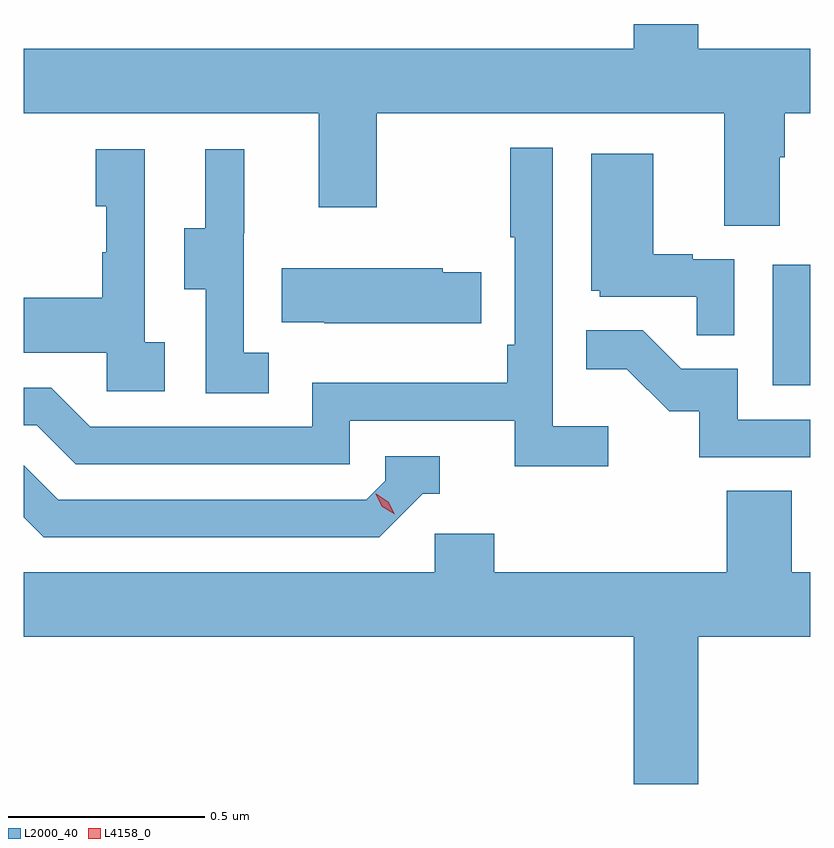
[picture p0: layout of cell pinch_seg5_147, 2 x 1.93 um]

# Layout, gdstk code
import gdstk
lib = gdstk.Library(unit=1e-6, precision=1e-09)
def R(c, l, rs):  # rectangles x0, y0, x1, y1
    for r in rs: c.add(gdstk.rectangle(r[:2], r[2:], *l))
def P(c, l, *ps):  # polygons
    for p in ps: c.add(gdstk.Polygon(p, *l))
L2000_40 = (2000, 40)
L4158_0 = (4158, 0)

pinch_seg5_147 = lib.new_cell('pinch_seg5_147')
R(pinch_seg5_147, L2000_40, [(1040.486,874.716,1040.581,875.023)])
P(pinch_seg5_147, L2000_40, [(1040.503,875.296),(1040.516,875.296),(1040.516,875.408),(1040.581,875.408),(1040.581,875.572),(1040.296,875.572),(1040.296,875.635),(1040.132,875.635),(1040.132,875.572),(1038.581,875.572),(1038.581,875.408),(1039.331,875.408),(1039.331,875.169),(1039.478,875.169),(1039.478,875.408),(1040.363,875.408),(1040.363,875.122),(1040.503,875.122)],
  [(1040.068,874.612),(1039.926,874.612),(1039.926,875.32),(1039.818,875.32),(1039.818,875.092),(1039.83,875.092),(1039.83,874.819),(1039.81,874.819),(1039.81,874.723),(1039.314,874.723),(1039.314,874.611),(1038.75,874.611),(1038.651,874.71),(1038.581,874.71),(1038.581,874.614),(1038.614,874.614),(1038.713,874.515),(1039.41,874.515),(1039.41,874.626),(1039.829,874.626),(1039.829,874.51),(1040.068,874.51)],
  [(1039.204,874.799),(1039.14,874.799),(1039.14,875.103),(1039.142,875.103),(1039.142,875.317),(1039.043,875.317),(1039.043,875.115),(1038.989,875.115),(1038.989,874.96),(1039.044,874.96),(1039.044,874.696),(1039.204,874.696)],
  [(1038.94,874.826),(1038.888,874.826),(1038.888,875.317),(1038.764,875.317),(1038.764,875.172),(1038.79,875.172),(1038.79,875.054),(1038.78,875.054),(1038.78,874.939),(1038.581,874.939),(1038.581,874.799),(1038.792,874.799),(1038.792,874.701),(1038.94,874.701)],
  [(1040.388,875.037),(1040.282,875.037),(1040.282,875.05),(1040.182,875.05),(1040.182,875.305),(1040.024,875.305),(1040.024,874.956),(1040.046,874.956),(1040.046,874.941),(1040.293,874.941),(1040.293,874.843),(1040.388,874.843)],
  [(1039.745,875.004),(1039.647,875.004),(1039.647,875.014),(1039.237,875.014),(1039.237,874.877),(1039.345,874.877),(1039.345,874.874),(1039.745,874.874)],
  [(1040.581,874.629),(1040.397,874.629),(1040.397,874.758),(1040.253,874.758),(1040.155,874.856),(1040.011,874.856),(1040.011,874.757),(1040.115,874.757),(1040.222,874.65),(1040.299,874.65),(1040.299,874.533),(1040.581,874.533)],
  [(1039.596,874.44),(1039.639,874.44),(1039.639,874.536),(1039.5,874.536),(1039.5,874.473),(1039.452,874.425),(1038.669,874.425),(1038.581,874.513),(1038.581,874.38),(1038.632,874.329),(1039.485,874.329)],
  [(1040.296,874.076),(1040.581,874.076),(1040.581,874.24),(1040.534,874.24),(1040.534,874.448),(1040.369,874.448),(1040.369,874.24),(1039.778,874.24),(1039.778,874.338),(1039.626,874.338),(1039.626,874.24),(1038.581,874.24),(1038.581,874.076),(1040.132,874.076),(1040.132,873.702),(1040.296,873.702)])
P(pinch_seg5_147, L4158_0, [(1039.524,874.388),(1039.493,874.407),(1039.476,874.439),(1039.476,874.44),(1039.477,874.44),(1039.508,874.42),(1039.524,874.388),(1039.524,874.388)])

lib.write_gds('pinch_seg5_147.gds')
